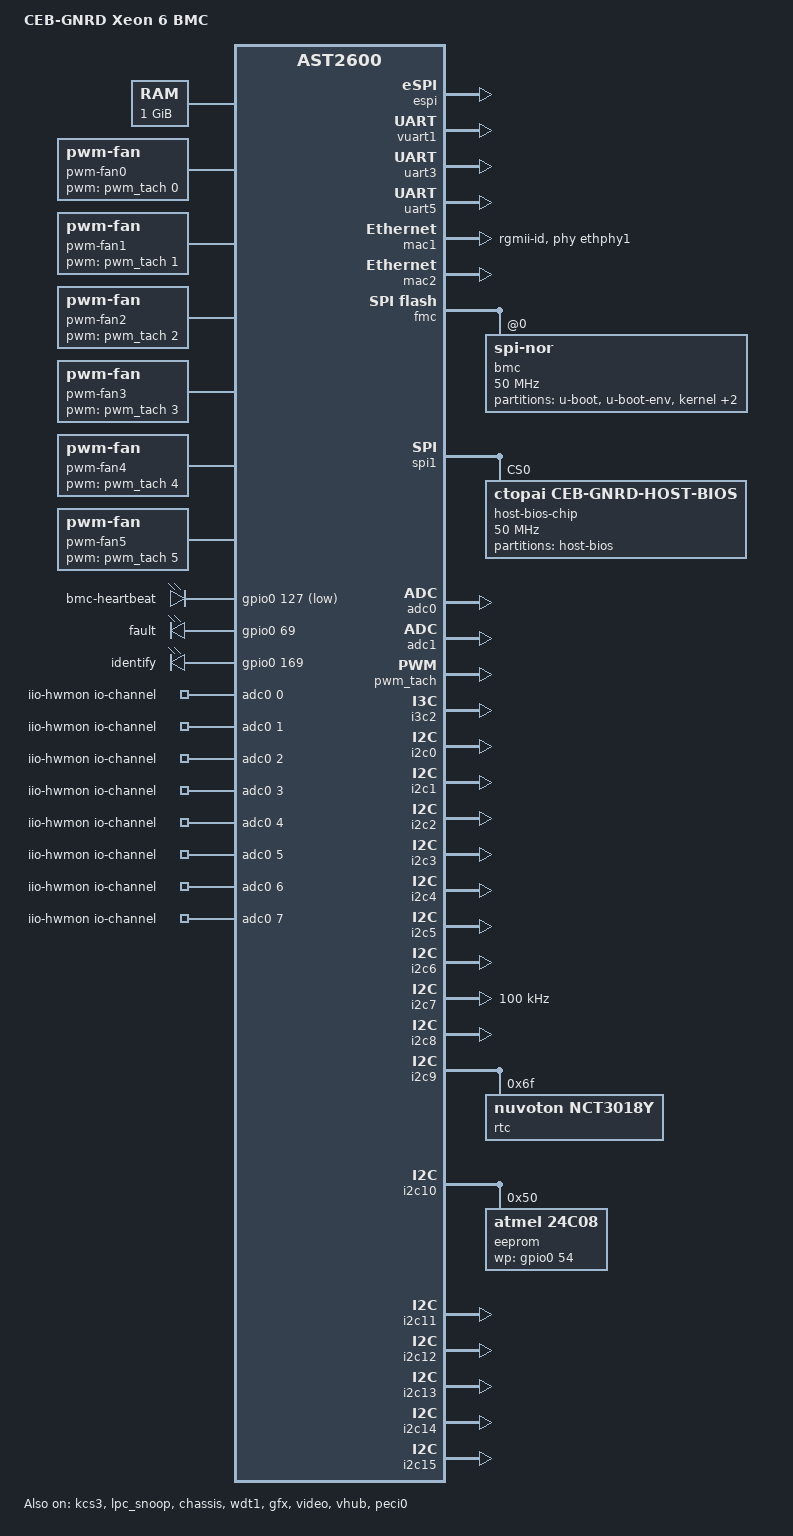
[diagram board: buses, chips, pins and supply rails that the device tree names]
// SPDX-License-Identifier: GPL-2.0-or-later
/dts-v1/;
#include <dt-bindings/gpio/gpio.h>

/*
 * CEB-GNRD network topology:
 *   MAC2: independent management RJ45 through the RTL8211 RGMII PHY
 *   MAC3: host-side NC-SI through the dedicated NCSI3 pin group
 *
 * Physical MAC2 is the independent RGMII2/RTL8211 port; physical MAC3 is the
 * E810 NC-SI port. Linux phandles are offset: &mac1 is physical MAC2 and
 * &mac2 is physical MAC3. Disable physical MAC1 and MAC4.
 */
#include "aspeed-ast2600-evb.dts"

/ {
    model = "CEB-GNRD Xeon 6 BMC";
    compatible = "ctopai,ceb-gnrd", "aspeed,ast2600";

    /* One SK hynix H5AN8G6NDJR-XNC, 8 Gbit x16 = 1 GiB.
     * U-Boot narrows this physical range to exclude VGA/SSP and ECC parity.
     * Do not hard-code the resulting size: it depends on detected RAM and
     * VGA straps. The inherited video/framebuffer pools allocate dynamically
     * inside the memory range handed over by U-Boot. */
    memory@80000000 {
        reg = <0x80000000 0x40000000>;
    };

    aliases {
        ethernet0 = &mac1;
        ethernet1 = &mac2;
    };

    /* PWM outputs of SYS_FAN0-5 as hwmon pwm1 of pwm-fan0..5: the
     * aspeed-g6-pwm-tach driver registers its PWMs only as a pwmchip, and
     * dbus-sensors' fansensor finds a fan's PWM in a "pwm-fanN" device
     * (otherwise "Connector ... no pwm channel found" and phosphor-pid-control
     * cannot set the fan speed).  pwm-fan starts at full duty; the fans stay
     * with the CPLD until BMC_FAN_BMC_OVERRIDE_N is driven high. */
    pwm-fan0 {
        compatible = "pwm-fan";
        pwms = <&pwm_tach 0 40000 0>;
    };

    pwm-fan1 {
        compatible = "pwm-fan";
        pwms = <&pwm_tach 1 40000 0>;
    };

    pwm-fan2 {
        compatible = "pwm-fan";
        pwms = <&pwm_tach 2 40000 0>;
    };

    pwm-fan3 {
        compatible = "pwm-fan";
        pwms = <&pwm_tach 3 40000 0>;
    };

    pwm-fan4 {
        compatible = "pwm-fan";
        pwms = <&pwm_tach 4 40000 0>;
    };

    pwm-fan5 {
        compatible = "pwm-fan";
        pwms = <&pwm_tach 5 40000 0>;
    };

    leds {
        compatible = "gpio-leds";

        bmc-heartbeat {
            label = "bmc-heartbeat";
            gpios = <&gpio0 127 GPIO_ACTIVE_LOW>;
            default-state = "off";
        };

        /* System alert (fault) LED, driven through phosphor-led-manager (group
         * enclosure_fault).  The label is the LED name used in led.json and in
         * the D-Bus path; keep it free of dashes. */
        system-alert {
            label = "fault";
            gpios = <&gpio0 69 GPIO_ACTIVE_HIGH>;
            default-state = "off";
        };


        identify {
            label = "identify";
            gpios = <&gpio0 169 GPIO_ACTIVE_HIGH>;
            default-state = "off";
        };
    };

    /* Publish all confirmed AST2600 ADC inputs to hwmon/dbus-sensors. */
    iio-hwmon {
        compatible = "iio-hwmon";
        io-channels = <&adc0 0>, <&adc0 1>, <&adc0 2>, <&adc0 3>,
            <&adc0 4>, <&adc0 5>, <&adc0 6>, <&adc0 7>,
            <&adc1 0>, <&adc1 1>, <&adc1 2>, <&adc1 3>,
            <&adc1 4>, <&adc1 5>, <&adc1 6>, <&adc1 7>;
};
};

/* GPIO 名称及 offset 按 AST2600 GPIO A0 起始的 bank 顺序标注。 */
&gpio0 {
    gpio-line-names =
        "", "", "", "", "", "", "", "",
        "", "", "", "", "", "", "", "",
        "", "", "", "", "", "", "", "",
        "", "", "", "", "", "", "", "",
        "", "", "", "", "", "", "", "",
        "", "", "", "", "", "", "", "",
        "", "", "", "", "", "", "BMC_FRU_WP", "",
        "", "", "", "", "", "", "", "",
        "", "", "", "", "", "BMC_SYS_ALERT_LED", "BMC_FAN_BMC_OVERRIDE_N", "",
        "", "", "", "", "", "", "", "",
        "", "", "", "", "", "", "", "",
        "", "", "", "", "", "", "", "",
        "", "BMC_BIOS_FLASH_SELECT", "BMC_POWER_BUTTON_INPUT", "", "", "", "", "BMC_BIOS_BOOT_OK",
        "", "", "", "", "", "", "", "",
        "", "", "", "", "", "", "", "",
        "", "", "", "", "", "", "", "BMC_HBLED_N",
        "", "", "", "", "", "", "", "",
        "", "", "", "", "", "", "", "",
        "", "", "", "", "PCB_VER0", "PCB_VER1", "PCB_VER2", "CFG_VER0",
        "", "", "", "", "", "", "", "",
        "", "", "", "", "", "", "", "",
        "BMC_UID_BUTTON_N", "BMC_UID_LED", "BMC_CPU_POWER_BUTTON", "BMC_CPU_RESET", "BMC_CPU_PWRGD";
};

&mac0 {
    status = "disabled";
};

/* phosphor-ipmi-kcs defaults to ipmi-kcs3.  The host BIOS reaches the BMC KCS
 * interface at I/O port 0xCA2 (data) / 0xCA3 (status).  The kernel driver
 * refuses to probe without 'aspeed,lpc-io-reg'; KCS channel 3 only supports the
 * inferred status address, so a single address is given.  No SerIRQ
 * ('aspeed,lpc-interrupts') is configured: the host BIOS/OS drivers poll the KCS
 * status register. */
&kcs3 {
    status = "okay";
    aspeed,lpc-io-reg = <0xca2>;
};

/* Capture BIOS POST writes to I/O port 0x80. This snoop is separate from
 * Peripheral I/O-cycle completion, which AST2600 handles in hardware. */
&lpc_snoop {
    status = "okay";
    snoop-ports = <0x80>;
};

/* AST2600 dedicated CHASI# latch; publishes intrusion0_alarm via hwmon. */
&chassis {
    status = "okay";
};

/* WDT1 is reserved for systemd's hardware runtime watchdog.  When userspace stops
 * servicing /dev/watchdog (or the kernel panics) it resets the SoC only
 * ("soc"), not the whole chip ("system"): a full-chip reset drives the GPIOs to
 * their power-on state and could glitch the CPLD / host-facing signals (fan
 * ownership, BIOS flash select, power button outputs) while the host is running.
 * Check on the board that the GPIO levels stay stable across a watchdog reset. */
&wdt1 {
    status = "okay";
    aspeed,reset-type = "soc";
};

/* Reserve AST2600 GPIOW0-W7 for the Xeon 6 host eSPI connection.
 * ESPI selects W0-W5/W7; W6/AD7 is the separate ESPIALT group, so both
 * pinctrl groups are required. The driver makes the Peripheral and Virtual Wire
 * channels ready; OOB and Flash Access stay unused.
 */
&{/ahb} {
    espi: espi@1e6ee000 {
        compatible = "aspeed,ast2600-espi-peripheral";
        reg = <0x1e6ee000 0x1000>;
        interrupts = <GIC_SPI 42 IRQ_TYPE_LEVEL_HIGH>;
        clocks = <&syscon ASPEED_CLK_GATE_ESPICLK>;
        resets = <&syscon 57>;
        pinctrl-names = "default";
        pinctrl-0 = <&pinctrl_espi_default &pinctrl_espialt_default>;
        status = "okay";
    };
};

/* Host serial console (SOL): AST2600 VUART1, which the host sees as COM1
 * (I/O 0x3F8) through the eSPI Peripheral channel.  It is bidirectional.  The BIOS
 * polls its line status register, so it must stay enabled or the BIOS can hang
 * waiting for "transmitter empty".  Linux names it ttyS5; udev (udev-aspeed-vuart)
 * adds the ttyVUART0 symlink that obmc-console uses.  The SerIRQ (IRQ4) only helps
 * host input: eSPI delivers it through a Virtual Wire (the channel is ready, but
 * whether the VUART interrupt really becomes an IRQ wire is untested), so check
 * on the board that typing in SOL reaches the host. */
&vuart1 {
    status = "okay";
    aspeed,lpc-io-reg = <0x3f8>;
    aspeed,lpc-interrupts = <4 IRQ_TYPE_LEVEL_HIGH>;
};

/* Default physical SOL: UART3 TX/RX, matching the physical-board dump.
 * UART5 remains the BMC debug console on ttyS4. */
&uart3 {
    status = "okay";
    pinctrl-names = "default";
    pinctrl-0 = <&pinctrl_txd3_default &pinctrl_rxd3_default>;
};

/* BMC debug console is wired to the dedicated AST2600 UART5 pads C8/D8.
 * UART5 has no separate pinctrl group in the pinned AST2600 pinctrl driver.
 */
&uart5 {
    status = "okay";
};

/* AST2600 GFX drives the board VGA display path. RGB DAC and DDC are fixed
 * VGA signals; select the muxed horizontal/vertical sync pads explicitly.
 */
&gfx {
    status = "okay";
    pinctrl-names = "default";
    pinctrl-0 = <&pinctrl_vgahs_default &pinctrl_vgavs_default>;
};

/* Separate AST2600 capture engine used by BMC KVM for host video. */
&video {
    status = "okay";
    memory-region = <&video_engine_memory>;
};

/* USB2A is wired to the host VL805 port 4 and must operate as a device. */
&ehci0 {
    status = "disabled";
};

&vhub {
    status = "okay";
    pinctrl-names = "default";
    pinctrl-0 = <&pinctrl_usb2ad_default>;
};

/* RTL8211FS-CG: MDIO address 1, confirmed by the physical-board dump.
 * Use "rgmii-id" to match the physical-board dump's RX/TX delay mode.
 * PHY reset (RTL8211_SYS_RSTN) is driven by the CPLD, so no reset-gpios here. */
&ethphy1 {
    reg = <1>;
};

/* Physical MAC2: independent RJ45 through the RTL8211FS-CG PHY. */
&mac1 {
    status = "okay";
    phy-mode = "rgmii-id";
    phy-handle = <&ethphy1>;
    pinctrl-names = "default";
    pinctrl-0 = <&pinctrl_rgmii2_default>;
};

/* Physical MAC3: NC-SI connection to the Intel E810. */
&mac2 {
    status = "okay";
    /delete-property/ phy-handle;
    /delete-property/ phy-mode;
    pinctrl-names = "default";
    pinctrl-0 = <&pinctrl_ncsi3_default>;
    use-ncsi;
};

&mac0 { status = "disabled"; };
&mac3 { status = "disabled"; };
/* The EVB include enables all four MDIO buses.  Only mdio1 (physical MAC2,
 * RTL8211FS) is used; the others claim pins that I2C12 needs (L26). */
&mdio0 { status = "disabled"; };
&mdio2 { status = "disabled"; };
&mdio3 { status = "disabled"; };

/* AST2600 Firmware SPI (FMC) hosts the 64 MiB Winbond W25Q512JVFIQ.
 * The schematic routes DQ2/DQ3 to AE12/AF12: select only FWQSPI.
 * Keep CS0/CLK/DQ0/DQ1 on the dedicated FWSPI boot pads; FWSPID would
 * incorrectly switch those signals to the alternate Y1-Y4 pads.
 */
&fmc {
    status = "okay";
    pinctrl-names = "default";
    pinctrl-0 = <&pinctrl_fwqspi_default>;
    /delete-node/ flash@0;

    flash@0 {
        compatible = "jedec,spi-nor";
        reg = <0>;
        label = "bmc";
        spi-max-frequency = <50000000>;
        spi-rx-bus-width = <4>;
        spi-tx-bus-width = <4>;

        partitions {
            compatible = "fixed-partitions";
            #address-cells = <1>;
            #size-cells = <1>;

            u-boot@0 { reg = <0x00000000 0x000e0000>; label = "u-boot"; };
            u-boot-env@e0000 { reg = <0x000e0000 0x00020000>; label = "u-boot-env"; };
            kernel@100000 { reg = <0x00100000 0x00900000>; label = "kernel"; };
            rofs@a00000 { reg = <0x00a00000 0x02800000>; label = "rofs"; };
            rwfs@3200000 { reg = <0x03200000 0x00e00000>; label = "rwfs"; };
        };
    };
};

/* Host BIOS NOR on AST2600 SPI1 CS0 (Macronix MX25U51245GMI00).
 * SPI1 is used only by the BIOS updater and remains in single-bit mode.
 */
&spi1 {
    status = "okay";
    pinctrl-names = "default";
    pinctrl-0 = <&pinctrl_spi1_default>;
    /delete-node/ flash@0;

    flash@0 {
        /* Only bios-update.sh may bind spi-nor after taking ownership. */
        compatible = "ctopai,ceb-gnrd-host-bios";
        reg = <0>;
        label = "host-bios-chip";
        spi-max-frequency = <50000000>;
        spi-rx-bus-width = <1>;
        spi-tx-bus-width = <1>;

        partitions {
            compatible = "fixed-partitions";
            #address-cells = <1>;
            #size-cells = <1>;

            host-bios@0 {
                label = "host-bios";
                reg = <0x00000000 0x04000000>;
            };
        };
    };
};

/* SPI2 is not connected to either system or BIOS flash on this board. */
&spi2 {
    status = "disabled";
};

/* GPIOM1/NDCD1 is requested as GPIO by the BIOS updater; do not mux it as
 * UART1 modem control.
 */
&uart1 {
    status = "disabled";
};

/* The schematic labels these as ADC0..ADC15 and uses the 10K/1K or
 * 10K/10K dividers recorded in the Entity-Manager configuration.
 * AST2600 has two 8-channel ADC engines: pads ADC0-7 are &adc0 channels 0-7
 * and pads ADC8-15 are &adc1 channels 0-7. */
&adc0 {
    status = "okay";
    aspeed,int-vref-microvolt = <2500000>;
    pinctrl-names = "default";
    pinctrl-0 = <&pinctrl_adc0_default &pinctrl_adc1_default
        &pinctrl_adc2_default &pinctrl_adc3_default
        &pinctrl_adc4_default &pinctrl_adc5_default
        &pinctrl_adc6_default &pinctrl_adc7_default>;
};

&adc1 {
    status = "okay";
    aspeed,int-vref-microvolt = <2500000>;
    pinctrl-names = "default";
    pinctrl-0 = <&pinctrl_adc8_default &pinctrl_adc9_default
        &pinctrl_adc10_default &pinctrl_adc11_default
        &pinctrl_adc12_default &pinctrl_adc13_default
        &pinctrl_adc14_default &pinctrl_adc15_default>;
};

/* Six fan headers are wired to PWM/TACH channels 0..5.  The aspeed-g6-pwm-tach
 * driver needs "tach-ch" and "pwms" in each fan child (PWM period 40000 ns =
 * 25 kHz); the older "reg" / "aspeed,fan-tach-ch" form makes it fail with
 * "Failed to create fan -22". */
&pwm_tach {
    status = "okay";
    pinctrl-names = "default";
    pinctrl-0 = <&pinctrl_pwm0_default &pinctrl_pwm1_default
        &pinctrl_pwm2_default &pinctrl_pwm3_default
        &pinctrl_pwm4_default &pinctrl_pwm5_default
        &pinctrl_tach0_default &pinctrl_tach1_default
        &pinctrl_tach2_default &pinctrl_tach3_default
        &pinctrl_tach4_default &pinctrl_tach5_default>;

    fan-0 {
        tach-ch = /bits/ 8 <0>;
        pwms = <&pwm_tach 0 40000 0>;
    };

    fan-1 {
        tach-ch = /bits/ 8 <1>;
        pwms = <&pwm_tach 1 40000 0>;
    };

    fan-2 {
        tach-ch = /bits/ 8 <2>;
        pwms = <&pwm_tach 2 40000 0>;
    };

    fan-3 {
        tach-ch = /bits/ 8 <3>;
        pwms = <&pwm_tach 3 40000 0>;
    };

    fan-4 {
        tach-ch = /bits/ 8 <4>;
        pwms = <&pwm_tach 4 40000 0>;
    };

    fan-5 {
        tach-ch = /bits/ 8 <5>;
        pwms = <&pwm_tach 5 40000 0>;
    };
};

/* PECI on AT29 / BMC_CPU_PECI connects to the Xeon 6 CPU.
 * CPU and DIMM temperatures are read over PECI, not the DIMM I3C buses.
 */
&peci0 {
    status = "okay";
};

/* CPU management uses AST2600 I3C3 on I3C3SCL_FSI1CLK/I3C3SDA_FSI1DATA.
 * DIMM temperatures are obtained over PECI; BMC I3C1/2 and I3C4 are unused.
 */
&i3c0 { status = "disabled"; };
&i3c1 { status = "disabled"; };
&i3c2 {
    status = "okay";
    pinctrl-names = "default";
    pinctrl-0 = <&pinctrl_i3c3_default>;
};
&i3c3 { status = "disabled"; };
&i3c4 { status = "disabled"; };
&i3c5 { status = "disabled"; };

/* This board has no eMMC and no SD card; the EVB include enables all three SDHCI
 * slots, which only makes the kernel probe cards that are not there
 * ("mmc0: Failed to initialize a non-removable card").
 */
&emmc { status = "disabled"; };
&emmc_controller { status = "disabled"; };
&sdhci0 { status = "disabled"; };
&sdhci1 { status = "disabled"; };
&sdc { status = "disabled"; };

/*
 * AST2600 DT labels are zero-based: schematic I2C7 is &i2c6.  The EVB
 * include enables demo devices on Linux i2c-7 and i2c-8; remove those before
 * assigning the board's actual temperature, CRPS and CPLD bus functions.
 */
/* PCIe slot I2C access: schematic AST I2C1..6 map to Linux &i2c0..&i2c5. */
&i2c0 {
    status = "okay";
    pinctrl-names = "default";
    pinctrl-0 = <&pinctrl_i2c1_default>;
};

&i2c1 {
    status = "okay";
    pinctrl-names = "default";
    pinctrl-0 = <&pinctrl_i2c2_default>;
};

&i2c2 {
    status = "okay";
    pinctrl-names = "default";
    pinctrl-0 = <&pinctrl_i2c3_default>;
};

&i2c3 {
    status = "okay";
    pinctrl-names = "default";
    pinctrl-0 = <&pinctrl_i2c4_default>;
};

&i2c4 {
    status = "okay";
    pinctrl-names = "default";
    pinctrl-0 = <&pinctrl_i2c5_default>;
};

&i2c5 {
    status = "okay";
    pinctrl-names = "default";
    pinctrl-0 = <&pinctrl_i2c6_default>;
};

&i2c6 {
    status = "okay";
    pinctrl-names = "default";
    pinctrl-0 = <&pinctrl_i2c7_default>;

    /* Four NST175H-QSPR sensors at 0x48-0x4b (strap code = low address bits):
     * EnvTemp_Inlet, EnvTemp_Outlet, BoardTemp_PCIe, BoardTemp_M2.  They are not
     * declared here: the Entity-Manager configuration (Type LM75A) makes
     * dbus-sensors create the devices itself.  Declaring them in both places made
     * every Entity-Manager scan log "Failed to register i2c client lm75a at 0x4x
     * (-16)", because the kernel already owned the address. */
};

&i2c7 {
    status = "okay";
    /* MEG-CRPS800AOP PMBus 1.2 supports at most 100 kbit/s. */
    clock-frequency = <100000>;
    pinctrl-names = "default";
    pinctrl-0 = <&pinctrl_i2c8_default>;
    /delete-node/ temp@2e;
    /delete-node/ eeprom@50;

    /* CRPS PMBus modules (0, 1 or 2 present at 0x58/0x59/0x5a) are not declared
     * here: ceb-gnrd-psu-detect creates a megcrps800 device for each installed
     * module, so empty slots do not log probe failures. */
};

/* Schematic I2C9 connects to CPLD-reserved pins; no target is currently used. */
&i2c8 {
    status = "okay";
    pinctrl-names = "default";
    pinctrl-0 = <&pinctrl_i2c9_default>;
    /delete-node/ lm75@4d;
};
/* The AST2600 internal RTC has no battery backup.  Disable it (the EVB include
 * enables it) so the battery-backed NCT3015Y below is rtc0, which the kernel
 * uses to set the system clock at boot (CONFIG_RTC_HCTOSYS_DEVICE="rtc0"). */
&rtc {
    status = "disabled";
};

/* Schematic RTC bus 10 is AST2600 I2C10 (Linux i2c9), on SDA2/SCL2
 * of the NCT3015Y-R; its first I2C port is connected to the host CPU. */
&i2c9 {
    status = "okay";
    pinctrl-names = "default";
    pinctrl-0 = <&pinctrl_i2c10_default>;

    /* NCT3015Y-R is bound through the nct3018y driver's only compatible. */
    rtc@6f {
        compatible = "nuvoton,nct3018y";
        reg = <0x6f>;
    };
};

/* Schematic I2C11 carries the FM24C08D motherboard FRU at address 0x50. */
&i2c10 {
    status = "okay";
    pinctrl-names = "default";
    pinctrl-0 = <&pinctrl_i2c11_default>;

    eeprom@50 {
        compatible = "atmel,24c08";
        reg = <0x50>;
        pagesize = <16>;
        size = <1024>;
        num-addresses = <4>;
        wp-gpios = <&gpio0 54 GPIO_ACTIVE_HIGH>;
    };
};

/* I2C12 TCA9546 and I2C13/14 MCIO are reserved board interfaces. */
&i2c11 {
    status = "okay";
    pinctrl-names = "default";
    pinctrl-0 = <&pinctrl_i2c12_default>;
};

&i2c12 {
    status = "okay";
    pinctrl-names = "default";
    pinctrl-0 = <&pinctrl_i2c13_default>;
};

&i2c13 {
    status = "okay";
    pinctrl-names = "default";
    pinctrl-0 = <&pinctrl_i2c14_default>;
};
/* CPU SMBUS_HOST PROM path: BMC_PROM_SCL/SDA use AST2600 I2C15 on
 * GPIOH4/SCL15 and GPIOH5/SDA15 (Linux adapter i2c-14). */
&i2c14 {
    status = "okay";
    pinctrl-names = "default";
    pinctrl-0 = <&pinctrl_i2c15_default>;
};
&i2c15 {
    status = "okay";
    pinctrl-names = "default";
    pinctrl-0 = <&pinctrl_i2c16_default>;
};
